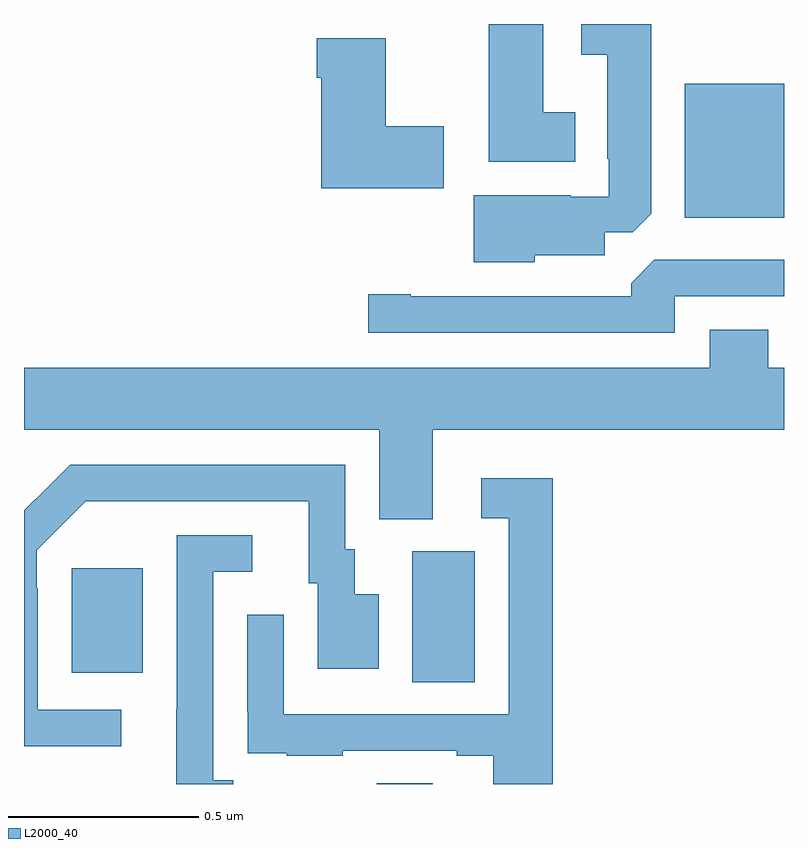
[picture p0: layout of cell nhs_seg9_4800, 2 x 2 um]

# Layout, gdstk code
import gdstk
lib = gdstk.Library(unit=1e-6, precision=1e-09)
def R(c, l, rs):  # rectangles x0, y0, x1, y1
    for r in rs: c.add(gdstk.rectangle(r[:2], r[2:], *l))
def P(c, l, *ps):  # polygons
    for p in ps: c.add(gdstk.Polygon(p, *l))
L2000_40 = (2000, 40)

nhs_seg9_4800 = lib.new_cell('nhs_seg9_4800')
R(nhs_seg9_4800, L2000_40, [(171.928,1183.5,172.075,1183.502), (172.022,1183.768,172.186,1184.112), (171.125,1183.793,171.313,1184.068), (172.739,1184.99,173,1185.343)])
P(nhs_seg9_4800, L2000_40, [(172.45,1185.268),(172.366,1185.268),(172.366,1185.5),(172.223,1185.5),(172.223,1185.137),(172.45,1185.137)],
  [(172.344,1184.891),(172.528,1184.891),(172.528,1184.952),(172.602,1184.952),(172.651,1185.001),(172.651,1185.5),(172.466,1185.5),(172.466,1185.419),(172.535,1185.419),(172.535,1185.145),(172.539,1185.145),(172.539,1185.045),(172.439,1185.045),(172.439,1185.049),(172.184,1185.049),(172.184,1184.873),(172.344,1184.873)],
  [(172.105,1185.231),(171.952,1185.231),(171.952,1185.463),(171.77,1185.463),(171.77,1185.359),(171.782,1185.359),(171.782,1185.068),(172.105,1185.068)],
  [(172.713,1184.784),(173,1184.784),(173,1184.88),(172.659,1184.88),(172.598,1184.818),(172.598,1184.784),(172.018,1184.784),(172.018,1184.789),(171.906,1184.789),(171.906,1184.688),(172.713,1184.688)],
  [(172.075,1184.432),(173,1184.432),(173,1184.596),(172.958,1184.596),(172.958,1184.695),(172.805,1184.695),(172.805,1184.596),(171,1184.596),(171,1184.432),(171.935,1184.432),(171.935,1184.197),(172.075,1184.197)],
  [(171.256,1183.695),(171.036,1183.695),(171.036,1184.015),(171.033,1184.015),(171.033,1184.115),(171.162,1184.244),(171.749,1184.244),(171.749,1184.028),(171.773,1184.028),(171.773,1183.803),(171.934,1183.803),(171.934,1183.999),(171.871,1183.999),(171.871,1184.118),(171.846,1184.118),(171.846,1184.34),(171.122,1184.34),(171.031,1184.249),(171.03,1184.25),(171,1184.22),(171,1183.599),(171.256,1183.599)],
  [(172.391,1184.305),(172.203,1184.305),(172.203,1184.199),(172.275,1184.199),(172.275,1183.683),(171.684,1183.683),(171.684,1183.945),(171.588,1183.945),(171.588,1183.69),(171.589,1183.69),(171.589,1183.581),(171.691,1183.581),(171.691,1183.575),(171.839,1183.575),(171.839,1183.587),(172.139,1183.587),(172.139,1183.575),(172.235,1183.575),(172.235,1183.5),(172.391,1183.5)],
  [(171.55,1183.51),(171.498,1183.51),(171.498,1184.058),(171.601,1184.058),(171.601,1184.154),(171.402,1184.154),(171.402,1183.697),(171.401,1183.697),(171.401,1183.5),(171.55,1183.5)])

lib.write_gds('nhs_seg9_4800.gds')
